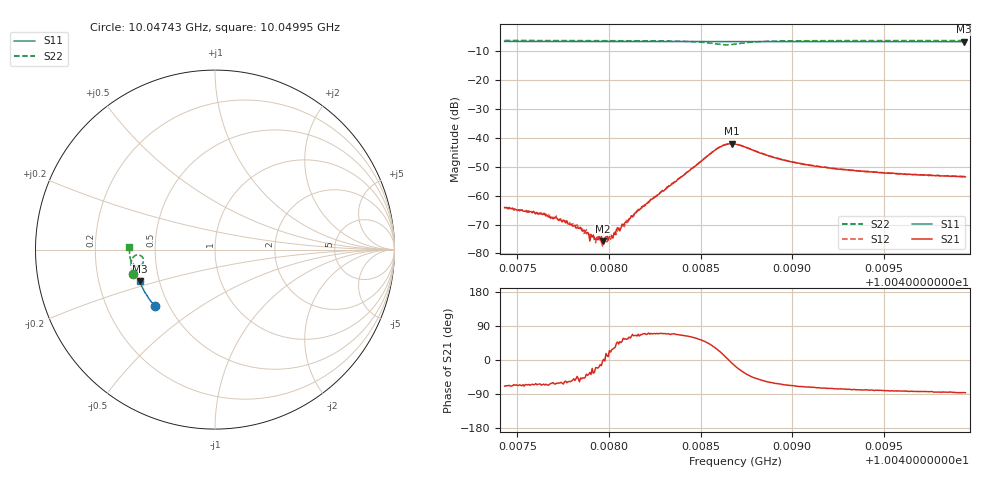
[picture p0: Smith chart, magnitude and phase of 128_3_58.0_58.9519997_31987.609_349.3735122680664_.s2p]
#  HZ  S  RI  R  50.00
! Rohde & Schwarz Vector Network Analyzer
! Rohde-Schwarz,ZNB20-2Port,1311601062101988,3.16
! Created: UTC 3/21/2024, 12:56:01 AM
! freq[Hz]  re:S11  im:S11  re:S21  im:S21  re:S12  im:S12  re:S22  im:S22
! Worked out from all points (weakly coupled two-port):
!   401 points, 10.04743 GHz to 10.04995 GHz, reference 50 ohm
!   highest |S21| = -42.10 dB at 10.04867 GHz (marker M1); lowest = -75.7 dB at 10.04796 GHz (marker M2)
!   lowest |S11| = -6.8 dB at 10.04994 GHz (marker M3), VSWR 2.67, Z = 19.3 - j8.58 ohm
!   |S11| at or under -10 dB: nowhere
!   |S22| runs from -7.9 to -6.4 dB; largest |S21 - S12| = 0.00053
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1.004743e10  -0.3343 -0.3162  0.000222 -0.000579  0.000273 -0.000557  -0.4588 -0.1352
1.0047656e10  -0.3442 -0.3046  0.000206 -0.000424  0.000226 -0.000377  -0.4625 -0.1191
1.0047813e10  -0.3508 -0.2967  0.00018 -0.000248  0.0002 -0.000228  -0.4647 -0.1074
1.0047851e10  -0.3522 -0.2946  0.000162 -0.000189  0.000202 -0.000179  -0.4651 -0.1046
1.0047908e10  -0.3547 -0.2917  0.000178 -7.26e-05  0.000197 -8.68e-05  -0.4657 -0.0999
1.0047933e10  -0.3556 -0.2902  0.000168 -6.14e-05  0.000198 -4.14e-05  -0.4659 -0.098
1.0047945e10  -0.356 -0.2897  0.00019 -6.22e-05  0.000174 -4.68e-05  -0.4662 -0.097
1.0047952e10  -0.3563 -0.2893  0.000165 -3.52e-05  0.000162 -5.29e-06  -0.4662 -0.0962
1.0047964e10  -0.3568 -0.2887  0.000163 -9.21e-06  0.000132 1.76e-05  -0.4662 -0.0954
1.0047977e10  -0.3572 -0.2879  0.000186 -8.02e-06  0.000164 4.54e-05  -0.4665 -0.0943
1.0048008e10  -0.3587 -0.2863  0.000197 7.44e-05  0.000161 6.96e-05  -0.4667 -0.0917
1.0048153e10  -0.3644 -0.2786  0.00024 0.000479  0.000171 0.000517  -0.4672 -0.0785
1.0048272e10  -0.369 -0.2721  0.000368 0.000987  0.000313 0.00101  -0.4662 -0.0659
1.0048587e10  -0.3799 -0.2545  0.00555 0.00312  0.00536 0.00347  -0.4153 -0.0328
1.0048631e10  -0.3812 -0.2522  0.00736 0.00141  0.00732 0.00185  -0.4003 -0.0497
1.0048669e10  -0.3824 -0.2503  0.00778 -0.00102  0.00789 -0.000522  -0.3999 -0.0708
1.0048687e10  -0.3832 -0.2493  0.00749 -0.0021  0.00762 -0.00162  -0.4048 -0.0795
1.0048908e10  -0.3909 -0.2371  0.00213 -0.00395  0.00241 -0.00385  -0.4607 -0.0756
1.0049109e10  -0.3976 -0.2254  0.00103 -0.00313  0.00119 -0.00309  -0.4711 -0.0529
1.004953e10  -0.4098 -0.2005  0.000334 -0.00241  0.000536 -0.00239  -0.4761 -0.0171
1.0049939e10  -0.4203 -0.1757  0.000153 -0.00211  0.000256 -0.00211  -0.4764 0.0127
1.0049945e10  -0.4206 -0.1753  0.000132 -0.0021  0.000279 -0.00211  -0.4764 0.013
